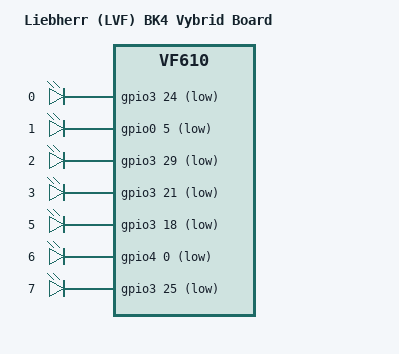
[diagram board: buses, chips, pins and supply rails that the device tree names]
// SPDX-License-Identifier: GPL-2.0+ OR X11
/*
 * (C) Copyright 2018
 * Lukasz Majewski, DENX Software Engineering, lukma@denx.de.
 *
 * Copyright 2016 Toradex AG
 */

/dts-v1/;
#include "vf610-pcm052.dtsi"
#include "vf610-pinfunc.h"

/ {
	model = "Liebherr (LVF) BK4 Vybrid Board";
	compatible = "lvf,bk4", "fsl,vf610";

	leds {
		pinctrl-names = "default";
		pinctrl-0 = <&pinctrl_gpio_leds>;

		compatible = "gpio-leds";

		/* PTE15 PORT3[24] H6 green */
		led@0 {
			label = "0";
			gpios = <&gpio3 24 GPIO_ACTIVE_LOW>;
			default-state = "off";
		};

		/* PTA12 PORT0[5] H5 green */
		led@1 {
			label = "1";
			gpios = <&gpio0 5 GPIO_ACTIVE_LOW>;
			default-state = "off";
		};

		/* PTE20 PORT3[39] H4 green */
		led@2 {
			label = "2";
			gpios = <&gpio3 29 GPIO_ACTIVE_LOW>;
			default-state = "off";
		};

		/* PTE12 PORT3[21] H3 green */
		led@3 {
			label = "3";
			gpios = <&gpio3 21 GPIO_ACTIVE_LOW>;
			default-state = "off";
		};

		/* LED6 is now PRESET ETH -> PTA16 PORT0[6]  H6 red */
		/* PTE9  PORT3[18] H5 red */
		led@4 {
			label = "5";
			gpios = <&gpio3 18 GPIO_ACTIVE_LOW>;
			default-state = "off";
		};

		/* PTE23 PORT4[0]  H4 red */
		led@5 {
			label = "6";
			gpios = <&gpio4 0 GPIO_ACTIVE_LOW>;
			default-state = "off";
		};

		/* PTE16 PORT3[25] H3 red */
		led@6 {
			label = "7";
			gpios = <&gpio3 25 GPIO_ACTIVE_LOW>;
			default-state = "off";
		};
	};
};

&iomuxc {
	pinctrl-0 = <&pinctrl_ddr &pinctrl_hog>;

	pinctrl_hog: hoggrp {
		fsl,pins = <
			/* ETH control pins */
			VF610_PAD_PTE17__GPIO_122		0x1183
			VF610_PAD_PTA16__GPIO_6	0x1183
		>;
	};

	pinctrl_gpio_leds: gpioledsgrp {
		fsl,pins = <
			/* LEDS */
			VF610_PAD_PTE15__GPIO_120	0x1183
			VF610_PAD_PTA12__GPIO_5	0x1183
			VF610_PAD_PTE9__GPIO_114	0x1183
			VF610_PAD_PTE20__GPIO_125	0x1183
			VF610_PAD_PTE23__GPIO_128	0x1183
			VF610_PAD_PTE16__GPIO_121	0x1183
		>;
	};
};
